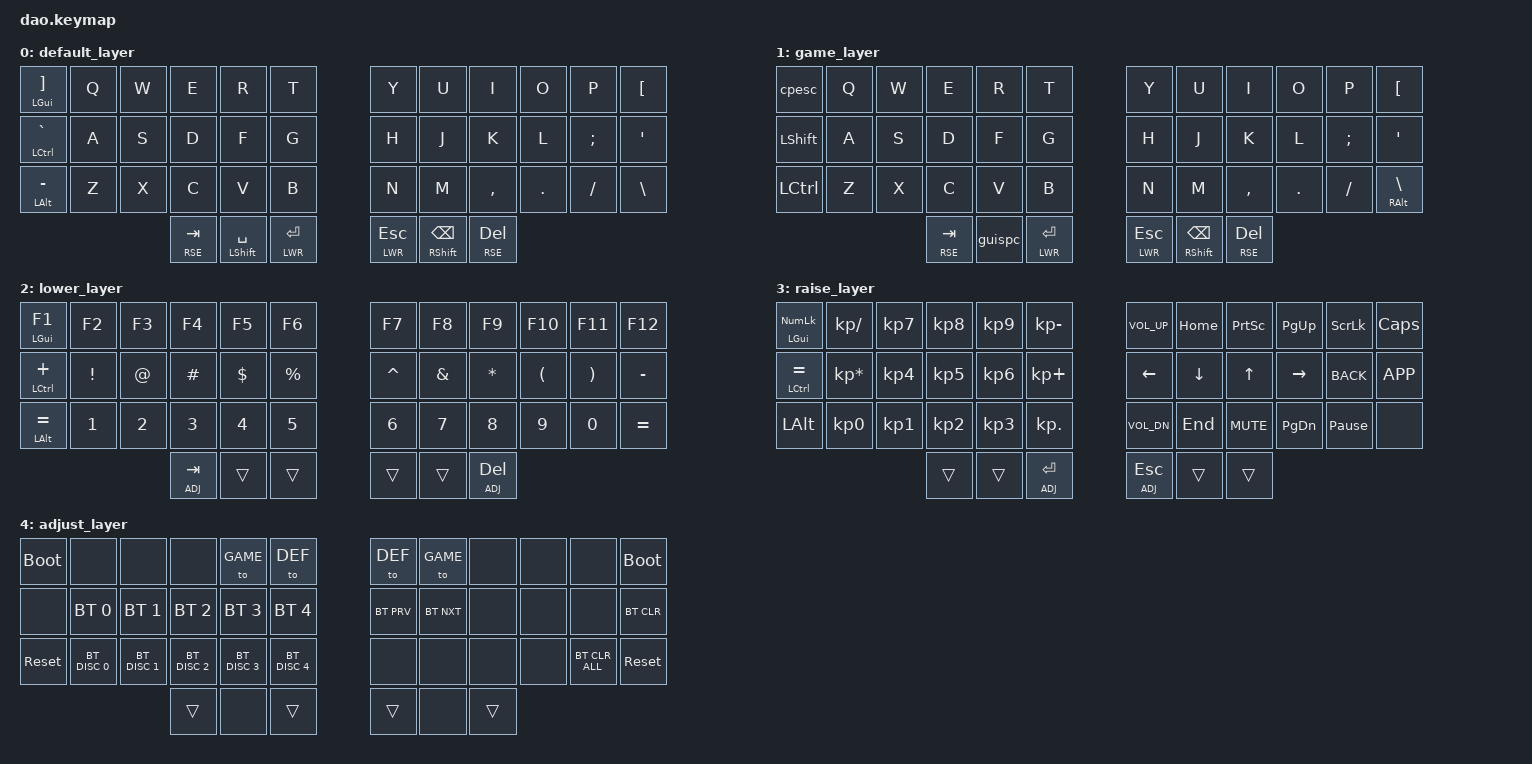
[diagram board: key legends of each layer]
/*
 * Copyright (c) 2021 Rafael Yumagulov
 *
 * SPDX-License-Identifier: MIT
 */

#include <behaviors.dtsi>
#include <dt-bindings/zmk/keys.h>
#include <dt-bindings/zmk/bt.h>

#define DEF 0
#define GAME 1
#define LWR 2
#define RSE 3
#define ADJ 4

// Editor: https://nickcoutsos.github.io/keymap-editor/

&lt {
	quick_tap_ms = <200>;
	tapping_term_ms = <100>;
};
&mt {
	quick_tap_ms = <200>;
	tapping_term_ms = <100>;
};

/ {
    chosen {
        zmk,matrix_transform = &default_transform;
        // zmk,matrix_transform = &extra_keys_transform;
    };
};

/*
/ {
    combos {
        compatible = "zmk,combos";
		combo_def_left {
			layers = <GAME>;
            timeout-ms = <50>;
            bindings = <&to DEF>;
            key-positions = <5 38 36>;
        };
        combo_def_right {
			layers = <GAME>;
            timeout-ms = <50>;
			bindings = <&to DEF>;
            key-positions = <39 41 6>;
        };
		combo_game {
			layers = <DEF>;
            timeout-ms = <50>;
            bindings = <&to GAME>;
            key-positions = <13 14 15 16>;
        };
		combo_caps {
			layers = <GAME>;
            timeout-ms = <50>;
            bindings = <&kp CAPS>;
            key-positions = <24 37>;
        };
    };
};
*/

/ {
    behaviors {
        cpesc: caps_escape {
            compatible = "zmk,behavior-mod-morph";
            #binding-cells = <0>;
            bindings = <&kp ESC>, <&kp CAPS>;
            mods = <MOD_LSFT>;
        };
		guispc: gui_space {
            compatible = "zmk,behavior-mod-morph";
            #binding-cells = <0>;
            bindings = <&kp SPACE>, <&kp LGUI>;
            mods = <MOD_LSFT>;
        };
    };
};

/ {
        keymap {
                compatible = "zmk,keymap";

                default_layer {
                        bindings = <
//    ┌───────────┬───┬───┬──────────────┬─────────────┬────────────┐   ┌────────────┬──────────────┬──────────────┬───┬───┬───┐
//    │ mt lgui ] │ Q │ W │      E       │      R      │     T      │   │     Y      │      U       │      I       │ O │ P │ [ │
//    ├───────────┼───┼───┼──────────────┼─────────────┼────────────┤   ├────────────┼──────────────┼──────────────┼───┼───┼───┤
//    │ mt lctl ` │ A │ S │      D       │      F      │     G      │   │     H      │      J       │      K       │ L │ ; │ ' │
//    ├───────────┼───┼───┼──────────────┼─────────────┼────────────┤   ├────────────┼──────────────┼──────────────┼───┼───┼───┤
//    │ mt lalt - │ Z │ X │      C       │      V      │     B      │   │     N      │      M       │      ,       │ . │ / │ \ │
//    └───────────┴───┴───┼──────────────┼─────────────┼────────────┤   ├────────────┼──────────────┼──────────────┼───┴───┴───┘
//                        │ lt rsftE tab │ mt lsft spc │ lt LWR ent │   │ lt LWR esc │ mt rsft bspc │ lt rsftE del │            
//                        └──────────────┴─────────────┴────────────┘   └────────────┴──────────────┴──────────────┘            
  &mt LGUI RBKT     &kp Q   &kp W   &kp E         &kp R             &kp T             &kp Y         &kp U            &kp I         &kp O     &kp P      &kp LBKT
  &mt LCTRL GRAVE   &kp A   &kp S   &kp D         &kp F             &kp G             &kp H         &kp J            &kp K         &kp L     &kp SEMI   &kp SQT 
  &mt LALT MINUS    &kp Z   &kp X   &kp C         &kp V             &kp B             &kp N         &kp M            &kp COMMA     &kp DOT   &kp FSLH   &kp BSLH
                                    &lt RSE TAB   &mt LSHFT SPACE   &lt LWR RET       &lt LWR ESC   &mt RSHFT BSPC   &lt RSE DEL                                
                        >;
                };
				game_layer {
                        bindings = <
//    ┌────────┬───┬───┬──────────────┬─────────┬────────────┐   ┌────────────┬──────────────┬──────────────┬───┬───┬───────────┐
//    │ &cpesc │ Q │ W │      E       │    R    │     T      │   │     Y      │      U       │      I       │ O │ P │     [     │
//    ├────────┼───┼───┼──────────────┼─────────┼────────────┤   ├────────────┼──────────────┼──────────────┼───┼───┼───────────┤
//    │  lsft  │ A │ S │      D       │    F    │     G      │   │     H      │      J       │      K       │ L │ ; │     '     │
//    ├────────┼───┼───┼──────────────┼─────────┼────────────┤   ├────────────┼──────────────┼──────────────┼───┼───┼───────────┤
//    │  lctl  │ Z │ X │      C       │    V    │     B      │   │     N      │      M       │      ,       │ . │ / │ mt ralt \ │
//    └────────┴───┴───┼──────────────┼─────────┼────────────┤   ├────────────┼──────────────┼──────────────┼───┴───┴───────────┘
//                     │ lt rsftE tab │ &guispc │ lt LWR ent │   │ lt LWR esc │ mt rsft bspc │ lt rsftE del │                    
//                     └──────────────┴─────────┴────────────┘   └────────────┴──────────────┴──────────────┘                    
  &cpesc       &kp Q   &kp W   &kp E         &kp R     &kp T             &kp Y         &kp U            &kp I         &kp O     &kp P      &kp LBKT     
  &kp LSHIFT   &kp A   &kp S   &kp D         &kp F     &kp G             &kp H         &kp J            &kp K         &kp L     &kp SEMI   &kp SQT      
  &kp LCTRL    &kp Z   &kp X   &kp C         &kp V     &kp B             &kp N         &kp M            &kp COMMA     &kp DOT   &kp FSLH   &mt RALT BSLH
                               &lt RSE TAB   &guispc   &lt LWR RET       &lt LWR ESC   &mt RSHFT BSPC   &lt RSE DEL                                     
                        >;
                };
                lower_layer {
                        bindings = <
//    ┌────────────┬────┬────┬────────────┬─────┬─────┐   ┌─────┬─────┬────────────┬─────┬─────┬─────┐
//    │ mt lgui f1 │ f2 │ f3 │     f4     │ f5  │ f6  │   │ f7  │ f8  │     f9     │ f10 │ f11 │ f12 │
//    ├────────────┼────┼────┼────────────┼─────┼─────┤   ├─────┼─────┼────────────┼─────┼─────┼─────┤
//    │ mt lctl +  │ !  │ @  │     #      │  $  │  %  │   │  ^  │  &  │     *      │  (  │  )  │  -  │
//    ├────────────┼────┼────┼────────────┼─────┼─────┤   ├─────┼─────┼────────────┼─────┼─────┼─────┤
//    │ mt lalt =  │ 1  │ 2  │     3      │  4  │  5  │   │  6  │  7  │     8      │  9  │  0  │  =  │
//    └────────────┴────┴────┼────────────┼─────┼─────┤   ├─────┼─────┼────────────┼─────┴─────┴─────┘
//                           │ lt ADJ tab │     │     │   │     │     │ lt ADJ del │                  
//                           └────────────┴─────┴─────┘   └─────┴─────┴────────────┘                  
  &mt LGUI F1      &kp F2     &kp F3   &kp F4        &kp F5     &kp F6          &kp F7      &kp F8     &kp F9        &kp F10    &kp F11    &kp F12  
  &mt LCTRL PLUS   &kp EXCL   &kp AT   &kp HASH      &kp DLLR   &kp PRCNT       &kp CARET   &kp AMPS   &kp STAR      &kp LPAR   &kp RPAR   &kp MINUS
  &mt LALT EQUAL   &kp N1     &kp N2   &kp N3        &kp N4     &kp N5          &kp N6      &kp N7     &kp N8        &kp N9     &kp N0     &kp EQUAL
                                       &lt ADJ TAB   &trans     &trans          &trans      &trans     &lt ADJ DEL                                  
                        >;
                };

                raise_layer {
                        bindings = <
//    ┌──────────────┬──────┬───┬─────┬─────┬────────────┐   ┌────────────┬──────┬──────┬──────┬────────┬──────┐
//    │ mt lgui nlck │ kp_/ │ 7 │  8  │  9  │    kp_-    │   │    volu    │ home │ pscr │ pgup │  slck  │ caps │
//    ├──────────────┼──────┼───┼─────┼─────┼────────────┤   ├────────────┼──────┼──────┼──────┼────────┼──────┤
//    │  mt lctl =   │ kp_* │ 4 │  5  │  6  │    kp_+    │   │    left    │ down │  up  │ rght │ K_BACK │ app  │
//    ├──────────────┼──────┼───┼─────┼─────┼────────────┤   ├────────────┼──────┼──────┼──────┼────────┼──────┤
//    │     lalt     │  0   │ 1 │  2  │  3  │    kp_.    │   │    vold    │ end  │ mute │ pgdn │  paus  │      │
//    └──────────────┴──────┴───┼─────┼─────┼────────────┤   ├────────────┼──────┼──────┼──────┴────────┴──────┘
//                              │     │     │ lt ADJ ent │   │ lt ADJ esc │      │      │                       
//                              └─────┴─────┴────────────┘   └────────────┴──────┴──────┘                       
  &mt LGUI KP_NUM   &kp KP_SLASH      &kp KP_N7   &kp KP_N8   &kp KP_N9   &kp KP_MINUS       &kp C_VOL_UP   &kp HOME   &kp PSCRN    &kp PG_UP   &kp SLCK          &kp CLCK 
  &mt LCTRL EQUAL   &kp KP_MULTIPLY   &kp KP_N4   &kp KP_N5   &kp KP_N6   &kp KP_PLUS        &kp LEFT       &kp DOWN   &kp UP       &kp RIGHT   &kp K_BACK        &kp K_APP
  &kp LALT          &kp KP_N0         &kp KP_N1   &kp KP_N2   &kp KP_N3   &kp KP_DOT         &kp C_VOL_DN   &kp END    &kp C_MUTE   &kp PG_DN   &kp PAUSE_BREAK   &none    
                                                  &trans      &trans      &lt ADJ RET        &lt ADJ ESC    &trans     &trans                                              
                        >;
                };
                adjust_layer {
                        bindings = <
//    ┌────────────┬──────────────┬──────────────┬──────────────┬──────────────┬──────────────┐   ┌────────┬─────────┬─────┬─────┬────────────┬────────────┐
//    │    boot    │              │              │              │   to GAME    │    to DEF    │   │ to DEF │ to GAME │     │     │            │    boot    │
//    ├────────────┼──────────────┼──────────────┼──────────────┼──────────────┼──────────────┤   ├────────┼─────────┼─────┼─────┼────────────┼────────────┤
//    │            │   bt_sel 0   │   bt_sel 1   │   bt_sel 2   │   bt_sel 3   │   bt_sel 4   │   │ bt_prv │ bt_nxt  │     │     │            │   bt_clr   │
//    ├────────────┼──────────────┼──────────────┼──────────────┼──────────────┼──────────────┤   ├────────┼─────────┼─────┼─────┼────────────┼────────────┤
//    │ &sys_reset │ bt_BT_DISC 0 │ bt_BT_DISC 1 │ bt_BT_DISC 2 │ bt_BT_DISC 3 │ bt_BT_DISC 4 │   │        │         │     │     │ bt_clr_ALL │ &sys_reset │
//    └────────────┴──────────────┴──────────────┼──────────────┼──────────────┼──────────────┤   ├────────┼─────────┼─────┼─────┴────────────┴────────────┘
//                                               │              │              │              │   │        │         │     │                                
//                                               └──────────────┴──────────────┴──────────────┘   └────────┴─────────┴─────┘                                
  &bootloader   &none           &none           &none           &to GAME        &to DEF             &to DEF      &to GAME     &none    &none   &none            &bootloader
  &none         &bt BT_SEL 0    &bt BT_SEL 1    &bt BT_SEL 2    &bt BT_SEL 3    &bt BT_SEL 4        &bt BT_PRV   &bt BT_NXT   &none    &none   &none            &bt BT_CLR 
  &sys_reset    &bt BT_DISC 0   &bt BT_DISC 1   &bt BT_DISC 2   &bt BT_DISC 3   &bt BT_DISC 4       &none        &none        &none    &none   &bt BT_CLR_ALL   &sys_reset 
                                                &trans          &none           &trans              &trans       &none        &trans                                       
                        >;
                };
        };
};
